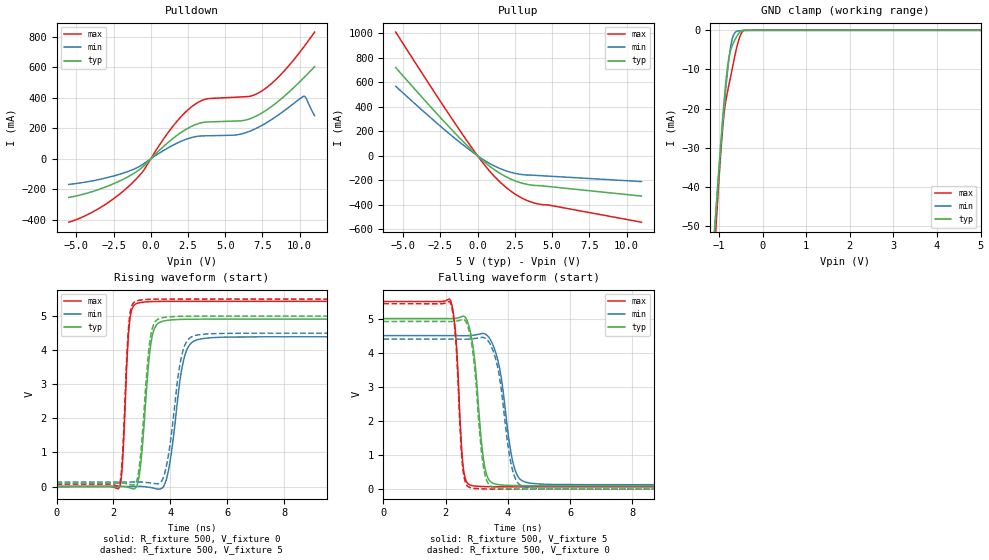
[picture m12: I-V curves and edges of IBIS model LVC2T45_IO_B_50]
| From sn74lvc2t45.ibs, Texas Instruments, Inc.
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[Model]   LVC2T45_IO_B_50
Model_type  I/O
Vinl=1.35
Vinh=3.85
Enable   Active-High
Vref =   0
Rref =   2000
Cref =   15p
Vmeas =   2.5
| variable   typ   min   max
C_comp   6.04pF   5.21pF   7.50pF
| C_pullup   9.92pF   6.14pF   12.32pF
| C_pulldown   8.44pF   6.78pF   11.45pF
| C_tri-state   6.04pF   5.21pF   7.50pF
[Temperature Range]   40   100   -40
| Ambient temperature   25   85   -40
[Voltage range]   5   4.5   5.5
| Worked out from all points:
|   slope of the pulldown table from 0 to 0.75 V, typ, clamps not added: 10.5 ohm
|   slope of the pullup table from 0 to 0.75 V, typ, clamps not added: 9.47 ohm
|   GND clamp passes 1 mA (typ) near -0.56 V on its own axis
|   rising waveform, R_fixture 500, V_fixture 0: 20-80 % time 278ps typ, 401ps min, 175ps max; typ from 0 V to 4.91 V
|   falling waveform, R_fixture 500, V_fixture 5: 20-80 % time 285ps typ, 399ps min, 184ps max; typ from 5 V to 0.098 V
|   rising waveform, R_fixture 500, V_fixture 5: 20-80 % time 274ps typ, 400ps min, 176ps max; typ from 0.098 V to 5 V
|   falling waveform, R_fixture 500, V_fixture 0: 20-80 % time 279ps typ, 388ps min, 181ps max; typ from 4.91 V to 0 V
[GND Clamp]
| LVC2T45_IO_B_50
|   Voltage   I(typ)   I(min)   I(max)
-5.5V     -897.8mA   -832.4mA   -1.016A
-1.115V   -53.65mA   -53.2mA    -58.9mA
-1.08V    -47.86mA   -47.85mA   -52.38mA
-1.05V    -42.97mA   -43.33mA   -46.9mA
-915mV    -22.35mA   -24.01mA   -24.95mA
-870mV    -16.36mA   -18.13mA   -20.06mA
-810mV    -9.836mA   -11.06mA   -16.02mA
-710mV    -4.33mA    -2.831mA   -10.59mA
-595mV    -1.595mA   -242.2uA   -4.449mA
-505mV    -252.5uA   -82.42uA   -1.167mA
-430mV    -5.556uA   -35.43uA   -28.28uA
5V        33.63pA    125.5nA    381.3pA
[Pulldown]
| LVC2T45_IO_B_50
|   Voltage   I(typ)   I(min)   I(max)
-5.5V     -253.9mA   -167.9mA   -416mA
-3.405V   -198.2mA   -134.3mA   -321.3mA
-1.385V   -110.1mA   -77.76mA   -172.1mA
-505mV    -50.36mA   -34.24mA   -80.09mA
1.5V      134.5mA    90.2mA     215.3mA
2.835V    217.6mA    142.1mA    348.8mA
3.78V     242mA      151.3mA    394mA
5.8V      248.5mA    157.8mA    405.1mA
7.215V    287.5mA    206.6mA    431.6mA
8.585V    379.6mA    289.3mA    538.4mA
10.27V    531.7mA    410.9mA    734mA
11V       605.1mA    283.2mA    832.3mA
[Pullup]
| LVC2T45_IO_B_50
|   Voltage   I(typ)   I(min)   I(max)
-5.5V     721.6mA    569mA      1.011A
-2.265V   282.6mA    218.1mA    402.1mA
-15mV     1.749mA    1.31mA     2.539mA
515mV     -56.07mA   -41.56mA   -82.23mA
1.045V    -106.1mA   -77.7mA    -157mA
1.575V    -148.4mA   -107.1mA   -221.8mA
2.1V      -182.6mA   -129.6mA   -276.2mA
3.005V    -223.7mA   -152.9mA   -346.9mA
3.91V     -242.2mA   -159.7mA   -388.5mA
4.73V     -250.2mA   -165.5mA   -401.1mA
11V       -328.6mA   -210.1mA   -542mA
[Ramp]
| LVC2T45_IO_B_50
| variable   typ   min   max
dV/dt_r   2.99/2.88E-10   2.68/4.14E-10   3.30/1.79E-10
dV/dt_f   2.98/3.03E-10   2.66/4.15E-10   3.30/1.89E-10
R_load = 500
[Rising Waveform]
| LVC2T45_IO_B_50
R_fixture =   500
C_fixture =   0
L_fixture =   0
V_fixture =   0
V_fixture_min = 0
V_fixture_max = 0
|   Time   V(typ)   V(min)   V(max)
0s        244.9pV    5.035nV    2.219nV
2.205ns   1.879mV    50.21uV    -20.46mV
2.315ns   2.602mV    24.17uV    660.3mV
2.57ns    -38.49mV   172.3uV    4.852V
2.975ns   798.8mV    2.884mV    5.402V
3.445ns   4.647V     -53.76mV   5.429V
3.9ns     4.876V     341mV      5.432V
4.53ns    4.906V     3.903V     5.433V
5.17ns    4.91V      4.344V     5.433V
40ns      4.911V     4.393V     5.433V
[Falling Waveform]
| LVC2T45_IO_B_50
R_fixture =   500
C_fixture =   0
L_fixture =   0
V_fixture =   5
V_fixture_min = 4.5
V_fixture_max = 5.5
|   Time   V(typ)   V(min)   V(max)
0s        5V         4.5V       5.5V
2.155ns   4.997V     4.5V       5.534V
2.325ns   5.008V     4.5V       4.52V
2.57ns    5.071V     4.497V     615.8mV
2.9ns     4.042V     4.513V     96.81mV
3.35ns    345.6mV    4.493V     73.56mV
3.73ns    129.4mV    3.564V     69.58mV
4.21ns    106.4mV    623.8mV    68.21mV
4.745ns   100.5mV    172.7mV    67.81mV
40ns      98.28mV    129.8mV    67.62mV
[Rising Waveform]
| LVC2T45_IO_B_50
R_fixture =   500
C_fixture =   0
L_fixture =   0
V_fixture =   5
V_fixture_min = 4.5
V_fixture_max = 5.5
|   Time   V(typ)   V(min)   V(max)
0s        98.26mV    129.8mV    67.61mV
2.195ns   99.93mV    129.8mV    48.59mV
2.31ns    100.9mV    129.8mV    803.3mV
2.56ns    65.42mV    129.9mV    4.927V
2.94ns    813.9mV    133.3mV    5.469V
3.41ns    4.75V      91.99mV    5.496V
3.85ns    4.969V     558.2mV    5.499V
4.455ns   4.995V     4.02V      5.5V
5.02ns    4.999V     4.455V     5.5V
40ns      5V         4.5V       5.5V
[Falling Waveform]
| LVC2T45_IO_B_50
R_fixture =   500
C_fixture =   0
L_fixture =   0
V_fixture =   0
V_fixture_min = 0
V_fixture_max = 0
|   Time   V(typ)   V(min)   V(max)
0s        4.915V     4.397V     5.435V
2.155ns   4.912V     4.398V     5.459V
2.32ns    4.922V     4.397V     4.447V
2.56ns    4.977V     4.395V     556.5mV
2.88ns    3.992V     4.408V     26.68mV
3.325ns   246.6mV    4.388V     5.307mV
3.68ns    28.63mV    3.548V     1.866mV
4.16ns    7.013mV    524.5mV    558.2uV
4.68ns    1.852mV    37.1mV     190.3uV
40ns      16.58uV    23.17uV    9.648uV
